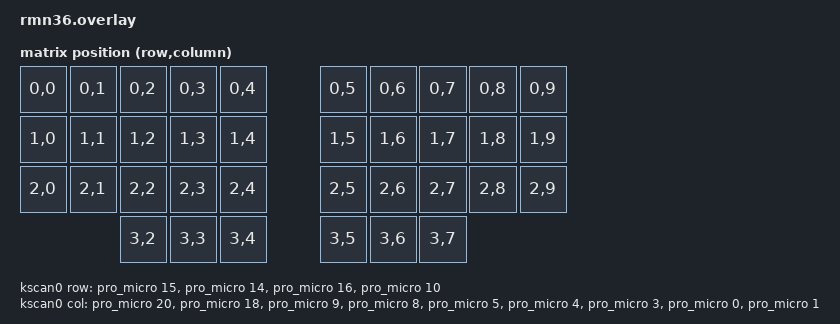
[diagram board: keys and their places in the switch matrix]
/*
 * Copyright (c) 2025 The ZMK Contributors
 *
 * SPDX-License-Identifier: MIT
 */

#include <dt-bindings/zmk/matrix_transform.h>

/ {
	chosen {
		zmk,kscan = &kscan0;
		zmk,matrix_transform = &default_transform;
	};

	default_transform: keymap_transform_0 {
		compatible = "zmk,matrix-transform";
		columns = <9>;
		rows = <4>;
		// 4 rows: 10, 10, 10, 6 keys (all centered)
		// Row 0: 10 keys (full width)
		// Row 1: 10 keys (full width)
		// Row 2: 10 keys (full width)
		// Row 3: 6 keys (centered, offset by 2 columns)
		map = <
			RC(0,0) RC(0,1) RC(0,2) RC(0,3) RC(0,4) RC(0,5) RC(0,6) RC(0,7) RC(0,8) RC(0,9)
			RC(1,0) RC(1,1) RC(1,2) RC(1,3) RC(1,4) RC(1,5) RC(1,6) RC(1,7) RC(1,8) RC(1,9)
			RC(2,0) RC(2,1) RC(2,2) RC(2,3) RC(2,4) RC(2,5) RC(2,6) RC(2,7) RC(2,8) RC(2,9)
			        RC(3,2) RC(3,3) RC(3,4) RC(3,5) RC(3,6) RC(3,7)
		>;
	};

	kscan0: kscan {
		compatible = "zmk,kscan-gpio-matrix";
		label = "KSCAN";
		diode-direction = "col2row";

		// Column pins (nice!nano v2)
		// The black (cathode) end of diodes are towards column pins
		col-gpios
			= <&pro_micro 20 GPIO_ACTIVE_HIGH>  // Column 0 - A3 (F4)
			, <&pro_micro 18 GPIO_ACTIVE_HIGH>  // Column 1 - A2 (F5)
			, <&pro_micro 9 GPIO_ACTIVE_HIGH>   // Column 2 - B5
			, <&pro_micro 8 GPIO_ACTIVE_HIGH>   // Column 3 - B4
			, <&pro_micro 5 GPIO_ACTIVE_HIGH>   // Column 4 - C6
			, <&pro_micro 4 GPIO_ACTIVE_HIGH>   // Column 5 - D4
			, <&pro_micro 3 GPIO_ACTIVE_HIGH>   // Column 6 - D0
			, <&pro_micro 0 GPIO_ACTIVE_HIGH>   // Column 7 - D2
			, <&pro_micro 1 GPIO_ACTIVE_HIGH>   // Column 8 - D3
			;

		// Row pins (nice!nano v2)
		row-gpios
			= <&pro_micro 15 (GPIO_ACTIVE_HIGH | GPIO_PULL_DOWN)>  // Row 0 - B1
			, <&pro_micro 14 (GPIO_ACTIVE_HIGH | GPIO_PULL_DOWN)>  // Row 1 - B3
			, <&pro_micro 16 (GPIO_ACTIVE_HIGH | GPIO_PULL_DOWN)>  // Row 2 - B2
			, <&pro_micro 10 (GPIO_ACTIVE_HIGH | GPIO_PULL_DOWN)>  // Row 3 - B6
			;
	};
};
